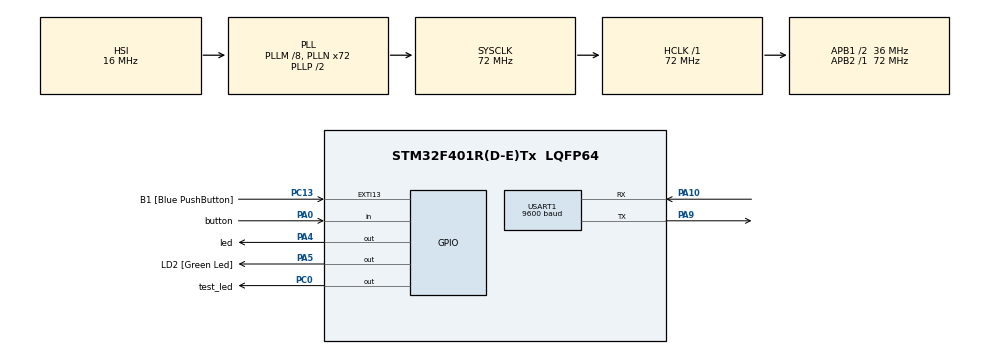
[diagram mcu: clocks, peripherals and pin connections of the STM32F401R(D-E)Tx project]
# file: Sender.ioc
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Mcu.Family=STM32F4
Mcu.Name=STM32F401R(D-E)Tx
Mcu.Package=LQFP64
NVIC.PriorityGroup=NVIC_PRIORITYGROUP_0
NVIC.USART1_IRQn=true\:0\:0\:false\:false\:true\:true\:true\:true
PA0-WKUP.GPIO_Label=button
PA0-WKUP.GPIO_PuPd=GPIO_PULLDOWN
PA0-WKUP.Signal=GPIO_Input
PA10.Mode=Asynchronous
PA10.Signal=USART1_RX
PA13.GPIO_Label=TMS
PA13.Mode=Serial_Wire
PA13.Signal=SYS_JTMS-SWDIO
PA14.GPIO_Label=TCK
PA14.Mode=Serial_Wire
PA14.Signal=SYS_JTCK-SWCLK
PA2.GPIO_Mode=GPIO_MODE_AF_PP
PA2.GPIO_ModeDefaultPP=GPIO_MODE_AF_PP
PA2.GPIO_PuPd=GPIO_NOPULL
PA2.GPIO_Speed=GPIO_SPEED_FREQ_VERY_HIGH
PA2.Signal=USART2_TX
PA3.GPIO_Mode=GPIO_MODE_AF_PP
PA3.GPIO_ModeDefaultPP=GPIO_MODE_AF_PP
PA3.GPIO_PuPd=GPIO_NOPULL
PA3.GPIO_Speed=GPIO_SPEED_FREQ_VERY_HIGH
PA3.Signal=USART2_RX
PA4.GPIO_Label=led
PA4.Signal=GPIO_Output
PA5.GPIO_Label=LD2 [Green Led]
PA5.GPIO_Mode=GPIO_MODE_OUTPUT_PP
PA5.GPIO_PuPd=GPIO_NOPULL
PA5.GPIO_Speed=GPIO_SPEED_FREQ_LOW
PA5.Signal=GPIO_Output
PA9.Mode=Asynchronous
PA9.Signal=USART1_TX
PB3.GPIO_Label=SWO
PB3.Signal=SYS_JTDO-SWO
PC0.GPIO_Label=test_led
PC0.Signal=GPIO_Output
PC13-ANTI_TAMP.GPIO_Label=B1 [Blue PushButton]
PC13-ANTI_TAMP.GPIO_ModeDefaultEXTI=GPIO_MODE_IT_FALLING
PC13-ANTI_TAMP.GPIO_PuPd=GPIO_NOPULL
PC13-ANTI_TAMP.Signal=GPXTI13
PC14-OSC32_IN.Mode=LSE-External-Oscillator
PC14-OSC32_IN.Signal=RCC_OSC32_IN
PC15-OSC32_OUT.Mode=LSE-External-Oscillator
PC15-OSC32_OUT.Signal=RCC_OSC32_OUT
PH0\ -\ OSC_IN.Mode=HSE-External-Clock-Source
PH0\ -\ OSC_IN.Signal=RCC_OSC_IN
PH1\ -\ OSC_OUT.Mode=HSE-External-Clock-Source
PH1\ -\ OSC_OUT.Signal=RCC_OSC_OUT
ProjectManager.HeapSize=0x200
ProjectManager.StackSize=0x400
ProjectManager.TargetToolchain=STM32CubeIDE
RCC.48MHZClocksFreq_Value=20571428.57142857
RCC.AHBFreq_Value=72000000
RCC.APB1CLKDivider=RCC_HCLK_DIV2
RCC.APB1Freq_Value=36000000
RCC.APB1TimFreq_Value=72000000
RCC.APB2Freq_Value=72000000
RCC.APB2TimFreq_Value=72000000
RCC.CortexFreq_Value=72000000
RCC.HCLKFreq_Value=72000000
RCC.HSE_VALUE=8000000
RCC.HSI_VALUE=16000000
RCC.PLLM=8
RCC.PLLN=72
RCC.PLLQ=7
RCC.SYSCLKFreq_VALUE=72000000
RCC.SYSCLKSource=RCC_SYSCLKSOURCE_PLLCLK
RCC.VCOOutputFreq_Value=144000000
USART1.BaudRate=9600
USART1.VirtualMode=VM_ASYNC
board=NUCLEO-F401RE

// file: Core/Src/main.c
/* USER CODE BEGIN Header */
/**
  ******************************************************************************
  * @file           : main.c
  * @brief          : Main program body
  ******************************************************************************
  * @attention
  *
  * Copyright (c) 2024 STMicroelectronics.
  * All rights reserved.
  *
  * This software is licensed under terms that can be found in the LICENSE file
  * in the root directory of this software component.
  * If no LICENSE file comes with this software, it is provided AS-IS.
  *
  ******************************************************************************
  */
/* USER CODE END Header */
#include "main.h"

UART_HandleTypeDef huart1;

void SystemClock_Config(void);
static void MX_GPIO_Init(void);
static void MX_USART1_UART_Init(void);

/* USER CODE BEGIN 0 */
//// error_code = 1: message is not sent correctly.
//// error_code = 2: receive wrong feedback.
//// error_code = 3: didn't receive feedback.
//void log_error_to_flash(uint32_t error_code) {
//    uint32_t address = 0x08080000;
//    HAL_FLASH_Unlock();
//    HAL_FLASH_Program(FLASH_TYPEPROGRAM_WORD, address, error_code);
//    HAL_FLASH_Lock();
//}

/* USER CODE END 0 */

int main(void)
{

  /* MCU Configuration--------------------------------------------------------*/

  /* Reset of all peripherals, Initializes the Flash interface and the Systick. */
  HAL_Init();

  /* Configure the system clock */
  SystemClock_Config();

  /* Initialize all configured peripherals */
  MX_GPIO_Init();
  MX_USART1_UART_Init();

  /* Infinite loop */
  /* USER CODE BEGIN WHILE */
  const char sendData = 'H';
  char receiveData = '\0';

  while (1)
  {
  	// send emergency signal
  	if (HAL_GPIO_ReadPin(GPIOA, button_Pin) == GPIO_PIN_SET) {
  		// if send incorrectly
  		if (HAL_UART_Transmit(&huart1, (uint8_t*)&sendData, 1, 2000) != HAL_OK) {
//  			log_error_to_flash(1);
  			printf("Failed to transmit message");
  		}
  		// receive the feedback
  		receiveData = '\0';
  		if (HAL_UART_Receive(&huart1, (uint8_t*)&receiveData, 1, 60000) == HAL_OK) {
  			if (receiveData == '1') {
  				HAL_GPIO_WritePin(led_GPIO_Port, led_Pin, GPIO_PIN_SET);
  				HAL_Delay(1000 * 60);
  				HAL_GPIO_WritePin(led_GPIO_Port, led_Pin, GPIO_PIN_RESET);
  			} else {
  				printf("Receive unexpected feedback");
//  				log_error_to_flash(2);
  			}
  		} else {
  			printf("Not receive feedback");
//  			log_error_to_flash(3);
  		}
  	} else {
  		printf("Not Pressed");
  	}
    /* USER CODE END WHILE */

   }
}

void SystemClock_Config(void)
{
  RCC_OscInitTypeDef RCC_OscInitStruct = {0};
  RCC_ClkInitTypeDef RCC_ClkInitStruct = {0};

  /** Configure the main internal regulator output voltage
  */
  __HAL_RCC_PWR_CLK_ENABLE();
  __HAL_PWR_VOLTAGESCALING_CONFIG(PWR_REGULATOR_VOLTAGE_SCALE2);

  /** Initializes the RCC Oscillators according to the specified parameters
  * in the RCC_OscInitTypeDef structure.
  */
  RCC_OscInitStruct.OscillatorType = RCC_OSCILLATORTYPE_HSI;
  RCC_OscInitStruct.HSIState = RCC_HSI_ON;
  RCC_OscInitStruct.HSICalibrationValue = RCC_HSICALIBRATION_DEFAULT;
  RCC_OscInitStruct.PLL.PLLState = RCC_PLL_ON;
  RCC_OscInitStruct.PLL.PLLSource = RCC_PLLSOURCE_HSI;
  RCC_OscInitStruct.PLL.PLLM = 8;
  RCC_OscInitStruct.PLL.PLLN = 72;
  RCC_OscInitStruct.PLL.PLLP = RCC_PLLP_DIV2;
  RCC_OscInitStruct.PLL.PLLQ = 7;
  if (HAL_RCC_OscConfig(&RCC_OscInitStruct) != HAL_OK)
  {
    Error_Handler();
  }

  /** Initializes the CPU, AHB and APB buses clocks
  */
  RCC_ClkInitStruct.ClockType = RCC_CLOCKTYPE_HCLK|RCC_CLOCKTYPE_SYSCLK
                              |RCC_CLOCKTYPE_PCLK1|RCC_CLOCKTYPE_PCLK2;
  RCC_ClkInitStruct.SYSCLKSource = RCC_SYSCLKSOURCE_PLLCLK;
  RCC_ClkInitStruct.AHBCLKDivider = RCC_SYSCLK_DIV1;
  RCC_ClkInitStruct.APB1CLKDivider = RCC_HCLK_DIV2;
  RCC_ClkInitStruct.APB2CLKDivider = RCC_HCLK_DIV1;

  if (HAL_RCC_ClockConfig(&RCC_ClkInitStruct, FLASH_LATENCY_2) != HAL_OK)
  {
    Error_Handler();
  }
}

static void MX_USART1_UART_Init(void)
{

  huart1.Instance = USART1;
  huart1.Init.BaudRate = 9600;
  huart1.Init.WordLength = UART_WORDLENGTH_8B;
  huart1.Init.StopBits = UART_STOPBITS_1;
  huart1.Init.Parity = UART_PARITY_NONE;
  huart1.Init.Mode = UART_MODE_TX_RX;
  huart1.Init.HwFlowCtl = UART_HWCONTROL_NONE;
  huart1.Init.OverSampling = UART_OVERSAMPLING_16;
  if (HAL_UART_Init(&huart1) != HAL_OK)
  {
    Error_Handler();
  }

}

static void MX_GPIO_Init(void)
{
  GPIO_InitTypeDef GPIO_InitStruct = {0};

  /* GPIO Ports Clock Enable */
  __HAL_RCC_GPIOC_CLK_ENABLE();
  __HAL_RCC_GPIOH_CLK_ENABLE();
  __HAL_RCC_GPIOA_CLK_ENABLE();
  __HAL_RCC_GPIOB_CLK_ENABLE();

  /*Configure GPIO pin Output Level */
  HAL_GPIO_WritePin(test_led_GPIO_Port, test_led_Pin, GPIO_PIN_RESET);

  /*Configure GPIO pin Output Level */
  HAL_GPIO_WritePin(GPIOA, led_Pin|LD2_Pin, GPIO_PIN_RESET);

  /*Configure GPIO pin : B1_Pin */
  GPIO_InitStruct.Pin = B1_Pin;
  GPIO_InitStruct.Mode = GPIO_MODE_IT_FALLING;
  GPIO_InitStruct.Pull = GPIO_NOPULL;
  HAL_GPIO_Init(B1_GPIO_Port, &GPIO_InitStruct);

  /*Configure GPIO pin : test_led_Pin */
  GPIO_InitStruct.Pin = test_led_Pin;
  GPIO_InitStruct.Mode = GPIO_MODE_OUTPUT_PP;
  GPIO_InitStruct.Pull = GPIO_NOPULL;
  GPIO_InitStruct.Speed = GPIO_SPEED_FREQ_LOW;
  HAL_GPIO_Init(test_led_GPIO_Port, &GPIO_InitStruct);

  /*Configure GPIO pin : button_Pin */
  GPIO_InitStruct.Pin = button_Pin;
  GPIO_InitStruct.Mode = GPIO_MODE_INPUT;
  GPIO_InitStruct.Pull = GPIO_PULLDOWN;
  HAL_GPIO_Init(button_GPIO_Port, &GPIO_InitStruct);

  /*Configure GPIO pins : PA2 PA3 */
  GPIO_InitStruct.Pin = GPIO_PIN_2|GPIO_PIN_3;
  GPIO_InitStruct.Mode = GPIO_MODE_AF_PP;
  GPIO_InitStruct.Pull = GPIO_NOPULL;
  GPIO_InitStruct.Speed = GPIO_SPEED_FREQ_VERY_HIGH;
  GPIO_InitStruct.Alternate = GPIO_AF7_USART2;
  HAL_GPIO_Init(GPIOA, &GPIO_InitStruct);

  /*Configure GPIO pins : led_Pin LD2_Pin */
  GPIO_InitStruct.Pin = led_Pin|LD2_Pin;
  GPIO_InitStruct.Mode = GPIO_MODE_OUTPUT_PP;
  GPIO_InitStruct.Pull = GPIO_NOPULL;
  GPIO_InitStruct.Speed = GPIO_SPEED_FREQ_LOW;
  HAL_GPIO_Init(GPIOA, &GPIO_InitStruct);

}

void Error_Handler(void)
{
  __disable_irq();
  while (1)
  {
  }
}
